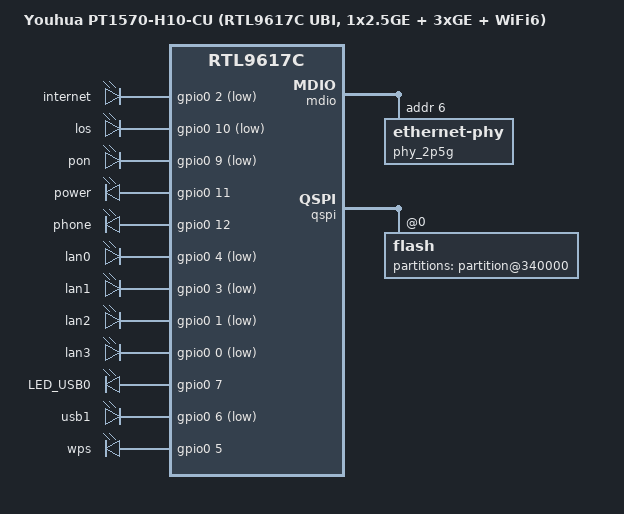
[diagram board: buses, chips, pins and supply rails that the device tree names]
// SPDX-License-Identifier: GPL-2.0-only
//
// PT1570-H10-CU（联通版，机型串 PT1570-H10-C）板级 DTS。
//
// 硬件事实（2026-11-14 真机 telnet + su 只读采集、用户确认，2026-11-15
// 原厂 mtd4 内嵌 DTB 逐节点解析）：
//   * RTL9617C / 256 MiB SPI-NAND / 512 MiB DDR4
//   * 1x2.5GE + 3xGE LAN：外置 RTL8221B 2.5G PHY
//     （lsmod: extGphy + rtl8221b；CFG_ID_XGE_PORT_BIT_MAP=0x40，
//      CFG_ID_GE_PORT_BIT_MAP=0x1F；原厂 DTB ext_gphy
//      port_mapping_phyAddr = <6 6>；真机 MDIO "phy6: C22=001cc849"）
//   * 双 PCIe WiFi6：0000:01:00.0 10ec:c852 / 0001:01:00.0 10ec:0192
//     （rtk_wifi6 + cfg80211，/sys/class/ieee80211/phy0 + phy1）
//   * flash 分区与上游 2p5g 基线逐项一致：
//       boot 2M@0x0 / env 256K@0x280000 / env2 256K@0x2C0000 /
//       static_conf 256K@0x300000 / ubi_device 0xF5C0000@0x340000
//   * XGPON（omci_app -ps xgpon1），WAN PPPoE VLAN 1101
//
// 统一 UBI 部分（chosen.rootdisk / volname=fit / factory nvmem-layout /
// fpga-image@10000）全部由 rtl9617c-tyfza1.dtsi 提供；本文件只负责硬件差异。
//
// ⚠️ 必须 include 2p5g 板定义（4ge 是空壳，外置 PHY 完全不初始化）。
//    但上游 rtl9617c-tyfza1-2p5g.dts 是「天翼 TYFZA1 电信 2.5G 板」，
//    有两处与联通本机不符，必须在本文件覆盖回去，否则：
//      ① 面板灯全错：电信板用高号 GPIO 70/71/139/140 + 11/12/3/4，
//         联通机是低号 2/9/10/11/12/0/1/3/4/5/6/7。第二版固件实测
//         「电源灯始终不亮、网口灯错位」即由此而来（电源被指到 gpio0 70
//         低有效，而真实电源灯是 gpio0 11 高有效）。
//      ② 2.5G / 网口4 不可用：电信板在 MDIO addr 7 挂 C45 HSGMII PHY，
//         联通机 addr7 空（"phy7: C45 PMAPMD id1=65535 id2=65535"、
//         "MDIO device at address 7 is missing."），真实 RTL8221B 在
//         addr 6 且是 C22。旧 lan-phys = <&phy0 &phy1 &phy2 0 &phy4>
//         让 port3 空（"LAN port 3 has no realtek,lan-phys"）、port4
//         指向不存在的 phy4（"LAN4 initialization failed: -19"），
//         最终只注册 lan0/lan2/lan3 —— 用户看到的「只有网口2/3可用」。
//
// ⛔ 不要写 /chosen 的 root= 覆盖块 —— R10 run15~run22 实证：显式写
//    root=/dev/fitblk0 会让刷入态起不来（灯全灭、无 DHCP）。挂根由内核侧
//    CONFIG_MTD_ROOTFS_ROOT_DEV + fitblk 完成，不需要 bootargs 的 root=。
//
// 注意：不要写 /dts-v1/；被 include 的 .dts 已经带了该标记。

#include "rtl9617c-tyfza1-2p5g.dts"

/ {
	model = "Youhua PT1570-H10-CU (RTL9617C UBI, 1x2.5GE + 3xGE + WiFi6)";
	compatible = "youhua,pt1570-h10-cu", "tianyi,tyfza1-2p5g", "realtek,rtl9617c";

	/*
	 * 固件态面板灯 —— 逐脚取自联通原厂 mtd4 内嵌 DTB 的 rtk_gpio_led
	 * 节点（led-gpio = <0x28 pin polarity>，0x28 = gpio0），并与
	 * 2026-11-15 实机确认的 U-Boot run#5 灯表同源：
	 *
	 *   面板左→右：电源(11H) 注册(9L) 光信号(10L) [5G] [2.4G]
	 *              千兆口4(0L) 千兆口3(1L) 千兆口2(3L) 2.5G口(4L)
	 *              电话(12H) 宽带(2L) [WPS(5H)] USB(7H)
	 *
	 * 2.5G 口灯位由 RTL8221B PHY 硬件驱动（原厂 LED_8221B_P6_*），
	 * GPIO 4 那一路在 U-Boot / 固件里都可能长灭，符合用户实测
	 * 「5G / 2.4G / 2.5G口 / WPS 四盏长期不亮」。
	 * 上游 2p5g DTS 用 /delete-node/ usb0 删掉 USB 灯，这里重建。
	 */
	leds {
		internet { gpios = <&gpio0 2 GPIO_ACTIVE_LOW>; };      /* 宽带 LED_PPP_G */
		los      { gpios = <&gpio0 10 GPIO_ACTIVE_LOW>; };     /* 光信号 LED_LOS */
		pon      { gpios = <&gpio0 9 GPIO_ACTIVE_LOW>; };      /* 注册 LED_PON */
		power {                                                 /* 电源 LED_PWR_G */
			gpios = <&gpio0 11 GPIO_ACTIVE_HIGH>;
			default-state = "on";
		};
		phone    { gpios = <&gpio0 12 GPIO_ACTIVE_HIGH>; };    /* 电话 LED_FXS */
		lan0     { gpios = <&gpio0 4 GPIO_ACTIVE_LOW>; };      /* 2.5G口 LED_EPHY0 */
		lan1     { gpios = <&gpio0 3 GPIO_ACTIVE_LOW>; };      /* 千兆口2 LED_EPHY1 */
		lan2     { gpios = <&gpio0 1 GPIO_ACTIVE_LOW>; };      /* 千兆口3 LED_EPHY2 */
		lan3     { gpios = <&gpio0 0 GPIO_ACTIVE_LOW>; };      /* 千兆口4 LED_EPHY3 */
		usb0 {                                                  /* LED_USB0 */
			label = "LED_USB0";
			gpios = <&gpio0 7 GPIO_ACTIVE_HIGH>;
			linux,default-trigger = "usbport";
		};
		usb1     { gpios = <&gpio0 6 GPIO_ACTIVE_LOW>; };      /* LED_USB1 */
		wps      { gpios = <&gpio0 5 GPIO_ACTIVE_HIGH>; };     /* WPS LED_WPS_G */
	};
};

/*
 * 有线网口：改回联通机真实 MDIO / P6 形态。
 *
 * rtl9617c-xram 的 rtl_register_lans() 先按 port=0..4 遍历
 * realtek,lan-phys（port == realtek,port 时改用 phy-handle），再单独解析
 * "realtek,p6-phy" 注册 port 6；netdev 命名：
 *   port0 -> lan0（phantom，无 RJ45）  port1 -> lan2  port2 -> lan3
 *   port3 -> lan4                       port6 -> lan1（2.5G 口，P6 XGE MAC）
 * 因此 4 个 GE 通道必须占满 lan-phys 的 index 0..3，且必须有 p6-phy。
 * 参考 PT1500-H10-2p5g 已实机验证的 phy@6 C22 + P6 方案。
 */
&mdio {
	/*
	 * 电信 2p5g 在 addr 7 挂 C45 HSGMII PHY（label phy4）；联通机该地址
	 * 无器件。保留节点但置 status=disabled：既不注册、不报
	 * "MDIO device at address 7 is missing"，也避免 /delete-node/ 让
	 * 上游 &ni0 里的 &phy4 label 悬空导致 dtc 编译失败。
	 */
	ethernet-phy@7 {
		status = "disabled";
	};

	/* 外置 RTL8221B 2.5G PHY：MDIO addr 6，Clause 22（C22 ID 001cc849）。
	 * C45 路径读到的厂商寄存器视图不对，HiSGMII 初始化会打死铜线 link；
	 * 用 no-vendor-finish 跳过天翼板专有 a408/a412/a5d4 收尾，
	 * oem-sds-option 保持原厂 MMD30.0x697A = 0x0001 的 HiSGMII+SGMII 模式。
	 */
	phy_2p5g: ethernet-phy@6 {
		reg = <6>;
		realtek,hsgmii;
		realtek,no-vendor-finish;
		realtek,oem-sds-option;
	};
};

&ni0 {
	/* index 0 是 port0（走 phy-handle=&phy0，不占连接器）；
	 * index 1..3 = 三个 GE 网口 -> lan2/lan3/lan4。port4 无连接器，
	 * 留空让驱动跳过（S4 SGMII lane 不由 netdev 承载）。 */
	realtek,lan-phys = <&phy0 &phy1 &phy2 &phy3>;
	/* P6 XGE MAC 才是 2.5G 网口：驱动据此注册 netdev lan1 */
	realtek,p6-phy = <&phy_2p5g>;
	phys = <&pcie_controls 5>;
	phy-names = "sgmii";
};

/*
 * ubi_device 分区必须可写 —— 2026-11-14 联通 H10-CU 真机刷砖定位（关键）。
 *
 * 症状：CU 首版固件 sysupgrade 刷入 fit 卷后上电黑砖（灯全灭），但 U-Boot
 *   下内存启动 initramfs-recovery.itb 完全正常（可配置、可 PPPoE 拨号）。
 *   fit 卷本身没问题：fitblk 正确识别 config-1、映射 /dev/fit0，
 *   factory/fit/rootfs_data 三卷都在。
 *
 * 根因：上游 rtl9617c-tyfza1.dtsi 给 partition@340000(ubi_device) 也标了
 *   read-only；110-spinand-readonly.patch 在 spinand_probe 里据此清掉
 *   MTD_WRITEABLE。真机 dmesg 实证：
 *     "ubi0: MTD device 4 is write-protected, attach in read-only mode"
 *   UBI 以只读方式 attach，刷机后 rootfs_data 整卷 0xFF 无法被 mount_root
 *   格式化成 ubifs，overlay 建不出来，刷入态必然起不来。initramfs 的 rootfs
 *   在内存里、不依赖 rootfs_data，所以内存启动不受影响 —— 这正是「能拨号、
 *   刷入却黑砖」的分界。
 *
 * R10 DTS 早有同样的 &qspi 覆盖块（2026-11-12 真机定位）；CU 从 PT1500-H10
 *   派生时漏掉了它。这里只放开 ubi_device；boot/env/env2/static_conf 保持只读。
 * 绝不能删除本覆盖块，apply-board-h10-cu.sh 里有对应断言。
 */
&qspi {
	flash@0 {
		partitions {
			partition@340000 {
				/delete-property/ read-only;
			};
		};
	};
};
